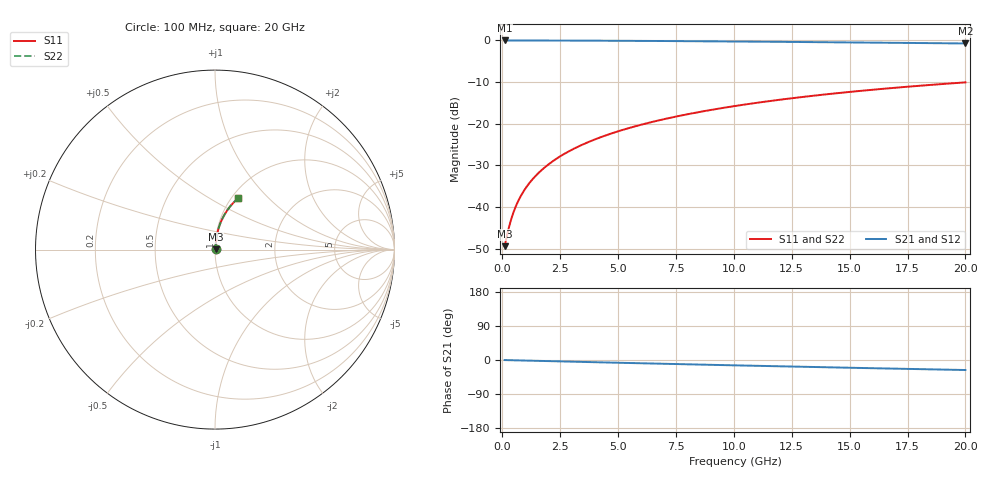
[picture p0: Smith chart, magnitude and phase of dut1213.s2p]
! Touchstone file exported from HFSS 2024.1.0
!  File:  C:/UserFiles/LocalFiles/RDL_TSV_Batchsim/temp_RDL_top_1213_1780239949.aedt
!  Generated:  11:08:38 PM May 31, 2026
!  Design:  RDL_top
!  Project:  temp_RDL_top_1213_1780239949
!  Setup:  Setup1
!  Solution:  Sweep
! Variables:
!  dtsv = 10.80580581um
!  hbump = 3um
!  htsv = 75.7um
!  ldown = 100um
!  lrdl = 326.49um
!  p = 40
!  p1 = 43.03um
!  rhole = 1um
!  t = 450um
!  tdown = 3.915915916um
!  trdl = 3.13um
!  wdown = 15.38538539um
!  wrdl = 13.34um
# GHz S MA R 50.000000
! Terminal data exported
! Port[1] = Box2_T1
! Port[2] = Box2_T2
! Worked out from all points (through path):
!   200 points, 100 MHz to 20 GHz, reference 50 ohm
!   highest |S21| = -0.03 dB at 100 MHz (marker M1); lowest = -0.7 dB at 20 GHz (marker M2)
!   group delay of S21, straight-line fit = 3.66 ps
!   lowest |S11| = -49.4 dB at 100 MHz (marker M3), VSWR 1.01, Z = 50.3 + j0.17 ohm
!   |S11| at or under -10 dB: start of sweep to end of sweep
!   |S22| runs from -49.4 to -10.1 dB; largest |S21 - S12| = 3.1e-15
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0.1  0.003375 30.0  0.9971 -0.2  0.9971 -0.2  0.003375 30.0
! Gamma 0 0 0 0
! Port Impedance 50 0 50 0
0.3  0.005869 58.8  0.997 -0.5  0.997 -0.5  0.005869 58.8
0.4  0.007351 64.9  0.9969 -0.6  0.9969 -0.6  0.007351 64.9
0.5  0.008873 68.9  0.9968 -0.8  0.9968 -0.8  0.008873 68.9
0.6  0.01041 71.6  0.9967 -0.9  0.9967 -0.9  0.01041 71.6
0.8  0.01352 75.3  0.9965 -1.2  0.9965 -1.2  0.01352 75.3
1.1  0.01821 78.4  0.9962 -1.6  0.9962 -1.6  0.01821 78.4
1.3  0.02136 79.6  0.996 -1.9  0.996 -1.9  0.02136 79.6
1.6  0.02611 80.9  0.9957 -2.4  0.9957 -2.4  0.02611 80.9
2.1  0.03407 82.1  0.995 -3.1  0.995 -3.1  0.03407 82.1
2.7  0.04368 82.8  0.994 -4.0  0.994 -4.0  0.04368 82.8
3.5  0.05655 83.0  0.9924 -5.1  0.9924 -5.1  0.05655 83.0
4.2  0.06786 82.8  0.9907 -6.1  0.9907 -6.1  0.06787 82.8
5  0.08083 82.4  0.9884 -7.3  0.9884 -7.3  0.08084 82.4
5.9  0.09546 81.7  0.9855 -8.5  0.9855 -8.5  0.09547 81.8
6.8  0.1101 81.0  0.9823 -9.8  0.9823 -9.8  0.1101 81.0
8.3  0.1345 79.5  0.9764 -11.8  0.9764 -11.8  0.1345 79.5
10.1  0.1636 77.6  0.9687 -14.2  0.9687 -14.2  0.1636 77.6
11.7  0.1891 75.7  0.9612 -16.3  0.9612 -16.3  0.1891 75.7
13.4  0.2158 73.7  0.9529 -18.5  0.9529 -18.5  0.2158 73.7
16.7  0.2657 69.8  0.9358 -22.5  0.9358 -22.5  0.2658 69.8
20  0.3129 65.9  0.9175 -26.4  0.9175 -26.4  0.3129 65.9
